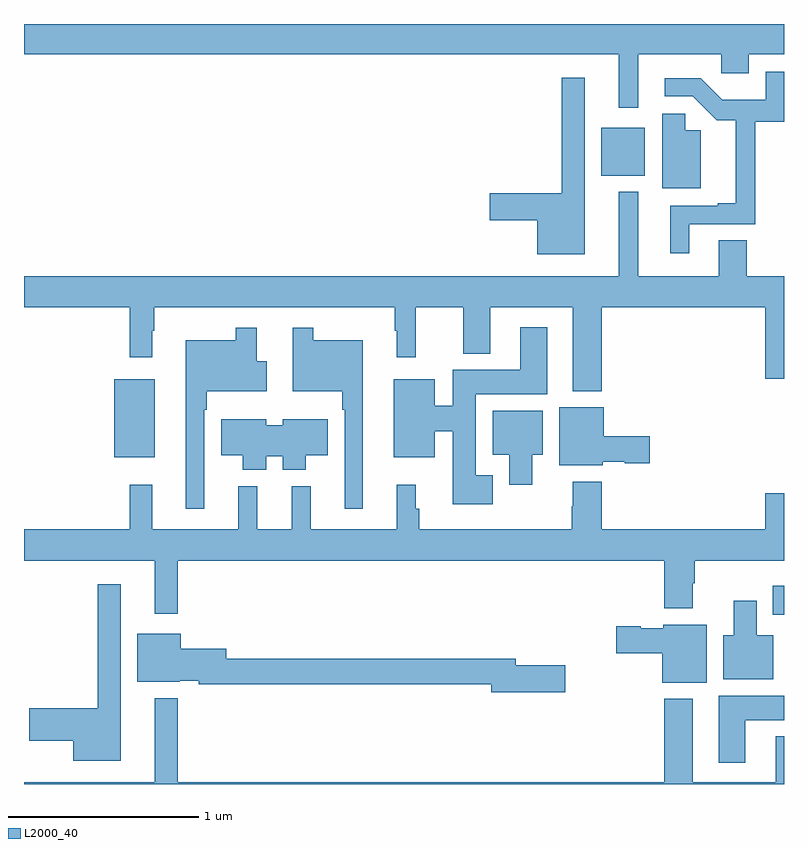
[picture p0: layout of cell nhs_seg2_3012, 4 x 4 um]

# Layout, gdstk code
import gdstk
lib = gdstk.Library(unit=1e-6, precision=1e-09)
def R(c, l, rs):  # rectangles x0, y0, x1, y1
    for r in rs: c.add(gdstk.rectangle(r[:2], r[2:], *l))
def P(c, l, *ps):  # polygons
    for p in ps: c.add(gdstk.Polygon(p, *l))
L2000_40 = (2000, 40)

nhs_seg2_3012 = lib.new_cell('nhs_seg2_3012')
R(nhs_seg2_3012, L2000_40, [(272.942,640.691,273,640.843), (269.474,641.519,269.689,641.929), (272.039,643.001,272.266,643.255)])
P(nhs_seg2_3012, L2000_40, [(272.233,643.64),(272.669,643.64),(272.669,643.542),(272.815,643.542),(272.815,643.64),(273,643.64),(273,643.8),(269,643.8),(269,643.64),(272.129,643.64),(272.129,643.359),(272.233,643.359)],
  [(272.5,642.747),(272.849,642.747),(272.849,643.285),(273,643.285),(273,643.548),(272.904,643.548),(272.904,643.402),(272.675,643.402),(272.562,643.515),(272.373,643.515),(272.373,643.419),(272.52,643.419),(272.647,643.293),(272.747,643.293),(272.747,642.856),(272.651,642.856),(272.651,642.843),(272.402,642.843),(272.402,642.594),(272.5,642.594)],
  [(271.951,643.516),(271.83,643.516),(271.83,642.908),(271.452,642.908),(271.452,642.766),(271.7,642.766),(271.7,642.587),(271.951,642.587)],
  [(272.563,643.24),(272.481,643.24),(272.481,643.327),(272.36,643.327),(272.36,642.935),(272.563,642.935)],
  [(272.042,642.308),(272.9,642.308),(272.9,641.934),(273,641.934),(273,642.472),(272.805,642.472),(272.805,642.662),(272.657,642.662),(272.657,642.472),(272.233,642.472),(272.233,642.916),(272.129,642.916),(272.129,642.472),(269,642.472),(269,642.308),(269.557,642.308),(269.557,642.045),(269.674,642.045),(269.674,642.185),(269.686,642.185),(269.686,642.308),(270.951,642.308),(270.951,642.185),(270.962,642.185),(270.962,642.045),(271.062,642.045),(271.062,642.308),(271.313,642.308),(271.313,642.065),(271.453,642.065),(271.453,642.308),(271.889,642.308),(271.889,641.867),(272.042,641.867)],
  [(271.468,641.425),(271.378,641.425),(271.378,641.852),(271.753,641.852),(271.753,642.205),(271.613,642.205),(271.613,641.98),(271.256,641.98),(271.256,641.792),(271.162,641.792),(271.162,641.929),(270.947,641.929),(270.947,641.519),(271.162,641.519),(271.162,641.656),(271.256,641.656),(271.256,641.273),(271.468,641.273)],
  [(270.784,642.136),(270.523,642.136),(270.523,642.202),(270.414,642.202),(270.414,641.867),(270.675,641.867),(270.675,641.771),(270.687,641.771),(270.687,641.25),(270.784,641.25)],
  [(269.949,641.771),(269.962,641.771),(269.962,641.867),(270.277,641.867),(270.277,642.025),(270.224,642.025),(270.224,642.202),(270.114,642.202),(270.114,642.136),(269.852,642.136),(269.852,641.25),(269.949,641.25)],
  [(272.046,641.495),(272.163,641.495),(272.163,641.488),(272.293,641.488),(272.293,641.63),(272.05,641.63),(272.05,641.782),(271.817,641.782),(271.817,641.477),(272.046,641.477)],
  [(271.675,641.534),(271.729,641.534),(271.729,641.764),(271.466,641.764),(271.466,641.534),(271.553,641.534),(271.553,641.376),(271.675,641.376)],
  [(270.274,641.524),(270.362,641.524),(270.362,641.453),(270.484,641.453),(270.484,641.531),(270.598,641.531),(270.598,641.719),(270.362,641.719),(270.362,641.689),(270.274,641.689),(270.274,641.719),(270.038,641.719),(270.038,641.531),(270.152,641.531),(270.152,641.453),(270.274,641.453)],
  [(272.042,641.392),(271.889,641.392),(271.889,641.261),(271.882,641.261),(271.882,641.14),(271.079,641.14),(271.079,641.249),(271.061,641.249),(271.061,641.374),(270.962,641.374),(270.962,641.14),(270.509,641.14),(270.509,641.368),(270.41,641.368),(270.41,641.14),(270.227,641.14),(270.227,641.368),(270.128,641.368),(270.128,641.14),(269.675,641.14),(269.675,641.374),(269.557,641.374),(269.557,641.14),(269,641.14),(269,640.976),(269.687,640.976),(269.687,640.695),(269.809,640.695),(269.809,640.976),(272.369,640.976),(272.369,640.724),(272.521,640.724),(272.521,640.856),(272.529,640.856),(272.529,640.976),(273,640.976),(273,641.329),(272.9,641.329),(272.9,641.14),(272.042,641.14)],
  [(269.509,640.852),(269.388,640.852),(269.388,640.199),(269.028,640.199),(269.028,640.028),(269.258,640.028),(269.258,639.923),(269.509,639.923)],
  [(272.944,640.582),(272.857,640.582),(272.857,640.765),(272.735,640.765),(272.735,640.582),(272.681,640.582),(272.681,640.352),(272.944,640.352)],
  [(272.593,640.639),(272.364,640.639),(272.364,640.621),(272.247,640.621),(272.247,640.629),(272.118,640.629),(272.118,640.487),(272.36,640.487),(272.36,640.334),(272.593,640.334)],
  [(271.849,640.424),(271.588,640.424),(271.588,640.46),(270.064,640.46),(270.064,640.513),(269.824,640.513),(269.824,640.591),(269.597,640.591),(269.597,640.337),(269.82,640.337),(269.82,640.343),(269.92,640.343),(269.92,640.324),(271.46,640.324),(271.46,640.282),(271.849,640.282)],
  [(272.797,640.136),(273,640.136),(273,640.264),(272.657,640.264),(272.657,639.912),(272.797,639.912)],
  [(273,640.051),(272.957,640.051),(272.957,639.808),(272.521,639.808),(272.521,640.249),(272.369,640.249),(272.369,639.808),(269.809,639.808),(269.809,640.252),(269.687,640.252),(269.687,639.808),(269,639.808),(269,639.8),(273,639.8)])

lib.write_gds('nhs_seg2_3012.gds')
